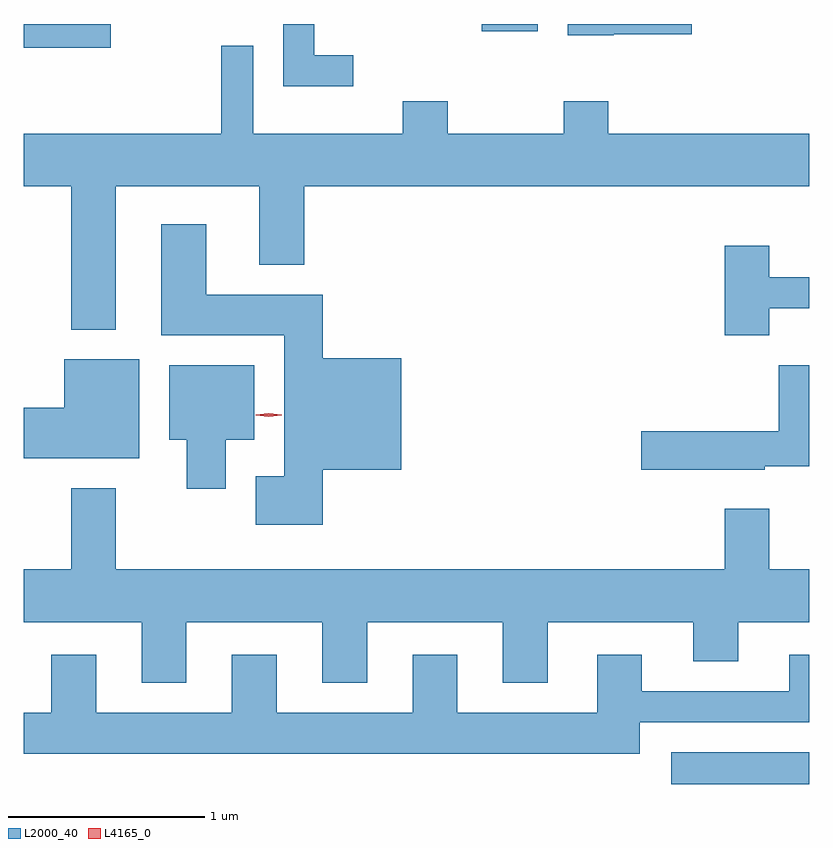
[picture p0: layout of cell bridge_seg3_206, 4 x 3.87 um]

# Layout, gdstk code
import gdstk
lib = gdstk.Library(unit=1e-6, precision=1e-09)
def R(c, l, rs):  # rectangles x0, y0, x1, y1
    for r in rs: c.add(gdstk.rectangle(r[:2], r[2:], *l))
def P(c, l, *ps):  # polygons
    for p in ps: c.add(gdstk.Polygon(p, *l))
L2000_40 = (2000, 40)
L4165_0 = (4165, 0)

bridge_seg3_206 = lib.new_cell('bridge_seg3_206')
R(bridge_seg3_206, L2000_40, [(949.498,1178.471,950.201,1178.634), (946.201,1182.221,946.644,1182.343), (948.533,1182.306,948.819,1182.343)])
P(bridge_seg3_206, L2000_40, [(949.205,1182.291),(949.604,1182.291),(949.604,1182.343),(948.971,1182.343),(948.971,1182.286),(949.205,1182.286)],
  [(947.878,1182.184),(947.679,1182.184),(947.679,1182.343),(947.521,1182.343),(947.521,1182.026),(947.878,1182.026)],
  [(946.669,1181.516),(947.401,1181.516),(947.401,1181.116),(947.629,1181.116),(947.629,1181.516),(950.201,1181.516),(950.201,1181.784),(949.179,1181.784),(949.179,1181.949),(948.951,1181.949),(948.951,1181.784),(948.359,1181.784),(948.359,1181.949),(948.131,1181.949),(948.131,1181.784),(947.369,1181.784),(947.369,1182.233),(947.206,1182.233),(947.206,1181.784),(946.201,1181.784),(946.201,1181.516),(946.441,1181.516),(946.441,1180.786),(946.669,1180.786)],
  [(947.724,1180.071),(948.124,1180.071),(948.124,1180.639),(947.724,1180.639),(947.724,1180.964),(947.129,1180.964),(947.129,1181.324),(946.901,1181.324),(946.901,1180.756),(947.526,1180.756),(947.526,1180.039),(947.381,1180.039),(947.381,1179.791),(947.724,1179.791)],
  [(949.999,1180.896),(950.201,1180.896),(950.201,1181.054),(949.999,1181.054),(949.999,1181.214),(949.771,1181.214),(949.771,1180.756),(949.999,1180.756)],
  [(946.789,1180.634),(946.406,1180.634),(946.406,1180.389),(946.201,1180.389),(946.201,1180.131),(946.789,1180.131)],
  [(947.229,1180.226),(947.374,1180.226),(947.374,1180.604),(946.941,1180.604),(946.941,1180.226),(947.031,1180.226),(947.031,1179.976),(947.229,1179.976)],
  [(949.974,1180.091),(950.201,1180.091),(950.201,1180.604),(950.046,1180.604),(950.046,1180.269),(949.346,1180.269),(949.346,1180.071),(949.974,1180.071)],
  [(947.029,1179.296),(947.721,1179.296),(947.721,1178.986),(947.949,1178.986),(947.949,1179.296),(948.641,1179.296),(948.641,1178.986),(948.869,1178.986),(948.869,1179.296),(949.611,1179.296),(949.611,1179.096),(949.839,1179.096),(949.839,1179.296),(950.201,1179.296),(950.201,1179.564),(949.999,1179.564),(949.999,1179.874),(949.771,1179.874),(949.771,1179.564),(946.669,1179.564),(946.669,1179.979),(946.441,1179.979),(946.441,1179.564),(946.201,1179.564),(946.201,1179.296),(946.801,1179.296),(946.801,1178.986),(947.029,1178.986)],
  [(949.339,1178.786),(950.201,1178.786),(950.201,1179.129),(950.101,1179.129),(950.101,1178.944),(949.349,1178.944),(949.349,1179.129),(949.121,1179.129),(949.121,1178.834),(948.409,1178.834),(948.409,1179.129),(948.181,1179.129),(948.181,1178.834),(947.489,1178.834),(947.489,1179.129),(947.261,1179.129),(947.261,1178.834),(946.569,1178.834),(946.569,1179.129),(946.341,1179.129),(946.341,1178.834),(946.201,1178.834),(946.201,1178.626),(949.339,1178.626)])
P(bridge_seg3_206, L4165_0, [(947.448,1180.341),(947.382,1180.35),(947.382,1180.351),(947.382,1180.351),(947.448,1180.361),(947.514,1180.351),(947.514,1180.351),(947.514,1180.35)])

lib.write_gds('bridge_seg3_206.gds')
